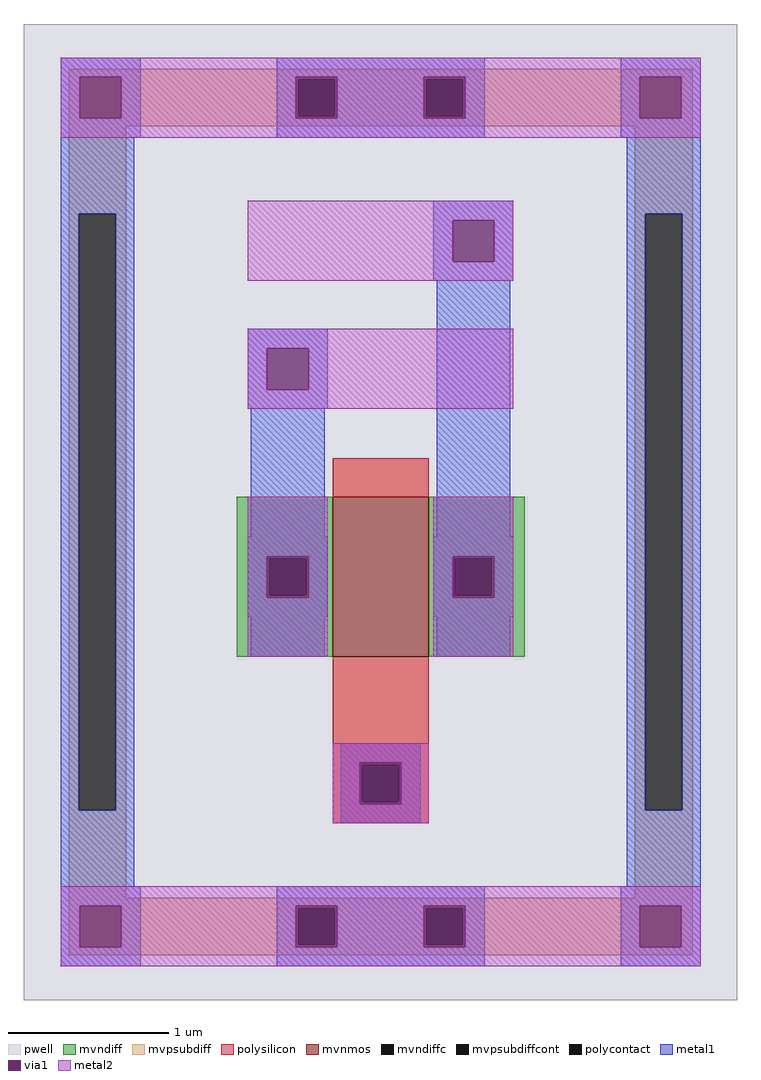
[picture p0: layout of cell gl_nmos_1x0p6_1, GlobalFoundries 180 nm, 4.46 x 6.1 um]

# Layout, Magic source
magic
tech gf180mcuD
magscale 1 10
<< pwell >>
rect -446 -610 446 610
<< mvnmos >>
rect -60 -181 60 19
<< mvndiff >>
rect -180 -58 -60 19
rect -180 -104 -139 -58
rect -93 -104 -60 -58
rect -180 -181 -60 -104
rect 60 -58 180 19
rect 60 -104 93 -58
rect 139 -104 180 -58
rect 60 -181 180 -104
<< mvndiffc >>
rect -139 -104 -93 -58
rect 93 -104 139 -58
<< mvpsubdiff >>
rect -390 541 390 554
rect -390 495 -103 541
rect -57 495 57 541
rect 103 495 390 541
rect -390 482 390 495
rect -390 373 -318 482
rect -390 -373 -377 373
rect -331 -373 -318 373
rect 318 373 390 482
rect -390 -482 -318 -373
rect 318 -373 331 373
rect 377 -373 390 373
rect 318 -482 390 -373
rect -390 -495 390 -482
rect -390 -541 -103 -495
rect -57 -541 57 -495
rect 103 -541 390 -495
rect -390 -554 390 -541
<< mvpsubdiffcont >>
rect -103 495 -57 541
rect 57 495 103 541
rect -377 -373 -331 373
rect 331 -373 377 373
rect -103 -541 -57 -495
rect 57 -541 103 -495
<< polysilicon >>
rect -60 19 60 67
rect -60 -316 60 -181
rect -60 -362 -23 -316
rect 23 -362 60 -316
rect -60 -389 60 -362
<< polycontact >>
rect -23 -362 23 -316
<< metal1 >>
rect -400 544 -300 568
rect -400 492 -376 544
rect -324 492 -300 544
rect -400 468 -300 492
rect -130 544 130 568
rect -130 492 -106 544
rect -54 492 54 544
rect 106 492 130 544
rect -130 468 130 492
rect 300 544 400 568
rect 300 492 324 544
rect 376 492 400 544
rect 300 468 400 492
rect -400 373 -308 468
rect -400 -373 -377 373
rect -331 -373 -308 373
rect 66 365 166 389
rect 66 313 90 365
rect 142 313 166 365
rect 66 289 166 313
rect 308 373 400 468
rect -166 205 -66 229
rect -166 153 -142 205
rect -90 153 -66 205
rect -166 129 -66 153
rect -162 -31 -70 129
rect 70 -31 162 289
rect -166 -55 -66 -31
rect -166 -107 -142 -55
rect -90 -107 -66 -55
rect -166 -131 -66 -107
rect 66 -55 166 -31
rect 66 -107 90 -55
rect 142 -107 166 -55
rect 66 -131 166 -107
rect -162 -181 -70 -131
rect 70 -181 162 -131
rect -400 -468 -308 -373
rect -50 -313 50 -289
rect -50 -365 -26 -313
rect 26 -365 50 -313
rect -50 -389 50 -365
rect 308 -373 331 373
rect 377 -373 400 373
rect 308 -468 400 -373
rect -400 -492 -300 -468
rect -400 -544 -376 -492
rect -324 -544 -300 -492
rect -400 -568 -300 -544
rect -130 -492 130 -468
rect -130 -544 -106 -492
rect -54 -544 54 -492
rect 106 -544 130 -492
rect -130 -568 130 -544
rect 300 -492 400 -468
rect 300 -544 324 -492
rect 376 -544 400 -492
rect 300 -568 400 -544
<< via1 >>
rect -376 492 -324 544
rect -106 541 -54 544
rect -106 495 -103 541
rect -103 495 -57 541
rect -57 495 -54 541
rect -106 492 -54 495
rect 54 541 106 544
rect 54 495 57 541
rect 57 495 103 541
rect 103 495 106 541
rect 54 492 106 495
rect 324 492 376 544
rect 90 313 142 365
rect -142 153 -90 205
rect -142 -58 -90 -55
rect -142 -104 -139 -58
rect -139 -104 -93 -58
rect -93 -104 -90 -58
rect -142 -107 -90 -104
rect 90 -58 142 -55
rect 90 -104 93 -58
rect 93 -104 139 -58
rect 139 -104 142 -58
rect 90 -107 142 -104
rect -26 -316 26 -313
rect -26 -362 -23 -316
rect -23 -362 23 -316
rect 23 -362 26 -316
rect -26 -365 26 -362
rect -376 -544 -324 -492
rect -106 -495 -54 -492
rect -106 -541 -103 -495
rect -103 -541 -57 -495
rect -57 -541 -54 -495
rect -106 -544 -54 -541
rect 54 -495 106 -492
rect 54 -541 57 -495
rect 57 -541 103 -495
rect 103 -541 106 -495
rect 54 -544 106 -541
rect 324 -544 376 -492
<< metal2 >>
rect -400 544 400 568
rect -400 492 -376 544
rect -324 492 -106 544
rect -54 492 54 544
rect 106 492 324 544
rect 376 492 400 544
rect -400 468 400 492
rect -166 365 166 389
rect -166 313 90 365
rect 142 313 166 365
rect -166 289 166 313
rect -166 205 166 229
rect -166 153 -142 205
rect -90 153 166 205
rect -166 129 166 153
rect -166 -55 -66 19
rect -166 -107 -142 -55
rect -90 -107 -66 -55
rect -166 -181 -66 -107
rect 66 -55 166 19
rect 66 -107 90 -55
rect 142 -107 166 -55
rect 66 -181 166 -107
rect -60 -313 60 -289
rect -60 -365 -26 -313
rect 26 -365 60 -313
rect -60 -389 60 -365
rect -400 -492 400 -468
rect -400 -544 -376 -492
rect -324 -544 -106 -492
rect -54 -544 54 -492
rect 106 -544 324 -492
rect 376 -544 400 -492
rect -400 -568 400 -544
<< end >>
